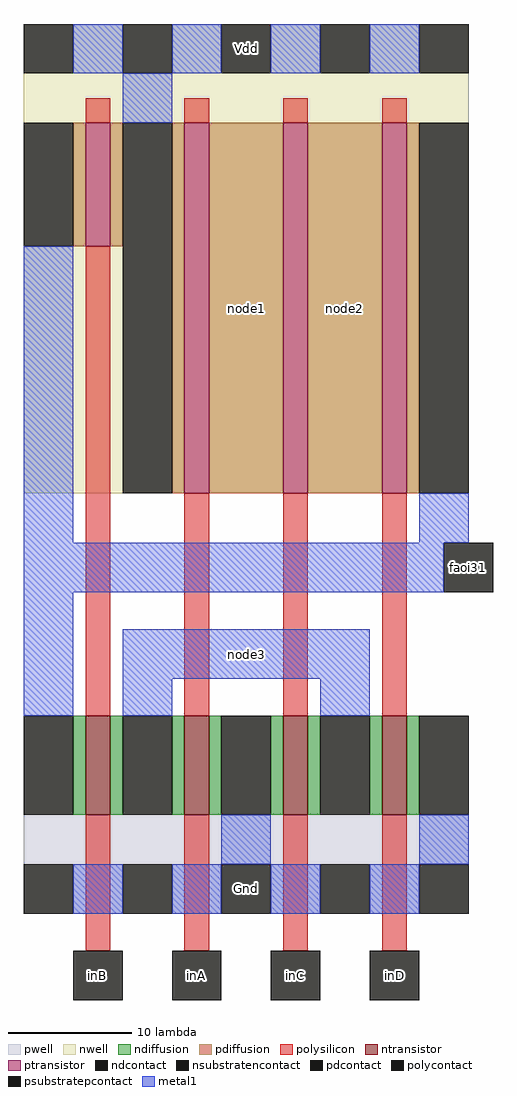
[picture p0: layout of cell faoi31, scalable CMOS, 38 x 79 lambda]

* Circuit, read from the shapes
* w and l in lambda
.subckt faoi31 Gnd Vdd inA inB inC inD node1 node2 node3
M1 node3 inB n1 Gnd nfet w=8 l=2
M2 Gnd inA node3 Gnd nfet w=8 l=2
M3 node3 inC Gnd Gnd nfet w=8 l=2
M4 Gnd inD node3 Gnd nfet w=8 l=2
M5 Vdd inB n1 Vdd pfet w=10 l=2
M6 node1 inA Vdd Vdd pfet w=30 l=2
M7 node2 inC node1 Vdd pfet w=30 l=2
M8 n1 inD node2 Vdd pfet w=30 l=2
.ends

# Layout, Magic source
magic
tech scmos
<< pwell >>
rect -16 -58 20 -42
<< nwell >>
rect -16 -24 20 14
<< polysilicon >>
rect -11 6 -9 8
rect -3 6 -1 8
rect 5 6 7 8
rect 13 6 15 8
rect -11 -42 -9 -4
rect -3 -42 -1 -24
rect 5 -42 7 -24
rect 13 -42 15 -24
rect -11 -61 -9 -50
rect -3 -61 -1 -50
rect 5 -61 7 -50
rect 13 -61 15 -50
<< ndiffusion >>
rect -12 -50 -11 -42
rect -9 -50 -8 -42
rect -4 -50 -3 -42
rect -1 -50 0 -42
rect 4 -50 5 -42
rect 7 -50 8 -42
rect 12 -50 13 -42
rect 15 -50 16 -42
<< pdiffusion >>
rect -12 -4 -11 6
rect -9 -4 -8 6
rect -4 -24 -3 6
rect -1 -24 5 6
rect 7 -24 13 6
rect 15 -24 16 6
<< metal1 >>
rect -12 10 -8 14
rect -4 10 0 14
rect 4 10 8 14
rect 12 10 16 14
rect -8 6 -4 10
rect -16 -28 -12 -4
rect 16 -28 20 -24
rect -16 -32 18 -28
rect -16 -42 -12 -32
rect -8 -39 12 -35
rect -8 -42 -4 -39
rect 8 -42 12 -39
rect 0 -54 4 -50
rect 16 -54 20 -50
rect -12 -58 -8 -54
rect -4 -58 0 -54
rect 4 -58 8 -54
rect 12 -58 16 -54
<< ntransistor >>
rect -11 -50 -9 -42
rect -3 -50 -1 -42
rect 5 -50 7 -42
rect 13 -50 15 -42
<< ptransistor >>
rect -11 -4 -9 6
rect -3 -24 -1 6
rect 5 -24 7 6
rect 13 -24 15 6
<< polycontact >>
rect 18 -32 22 -28
rect -12 -65 -8 -61
rect -4 -65 0 -61
rect 4 -65 8 -61
rect 12 -65 16 -61
<< ndcontact >>
rect -16 -50 -12 -42
rect -8 -50 -4 -42
rect 0 -50 4 -42
rect 8 -50 12 -42
rect 16 -50 20 -42
<< pdcontact >>
rect -16 -4 -12 6
rect -8 -24 -4 6
rect 16 -24 20 6
<< psubstratepcontact >>
rect -16 -58 -12 -54
rect -8 -58 -4 -54
rect 0 -58 4 -54
rect 8 -58 12 -54
rect 16 -58 20 -54
<< nsubstratencontact >>
rect -16 10 -12 14
rect -8 10 -4 14
rect 0 10 4 14
rect 8 10 12 14
rect 16 10 20 14
<< labels >>
rlabel nsubstratencontact 0 10 4 14 0 Vdd
rlabel pdiffusion 7 -24 13 6 0 node2
rlabel pdiffusion -1 -24 5 6 0 node1
rlabel polycontact 18 -32 22 -28 0 faoi31
rlabel metal1 0 -39 4 -35 0 node3
rlabel polycontact -12 -65 -8 -61 0 inB
rlabel polycontact -4 -65 0 -61 0 inA
rlabel polycontact 4 -65 8 -61 0 inC
rlabel polycontact 12 -65 16 -61 0 inD
rlabel psubstratepcontact 0 -58 4 -54 0 Gnd
<< end >>
